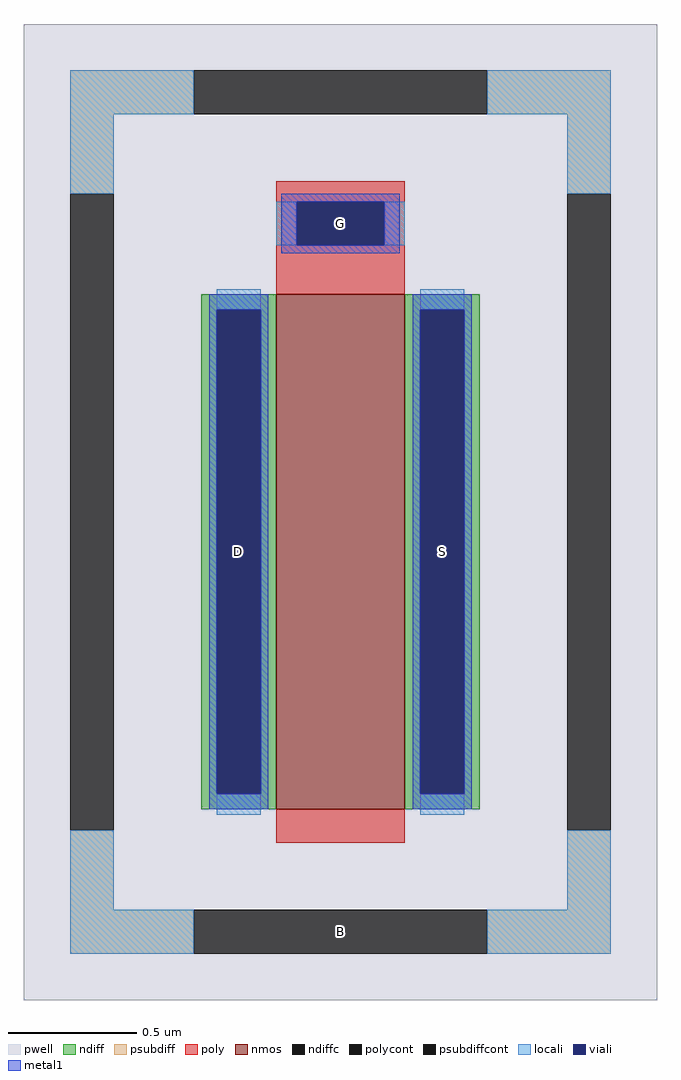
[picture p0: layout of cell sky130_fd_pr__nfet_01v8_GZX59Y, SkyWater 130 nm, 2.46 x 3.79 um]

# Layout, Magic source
magic
tech sky130A
magscale 1 2
<< pwell >>
rect -246 -379 246 379
<< nmos >>
rect -50 -231 50 169
<< ndiff >>
rect -108 157 -50 169
rect -108 -219 -96 157
rect -62 -219 -50 157
rect -108 -231 -50 -219
rect 50 157 108 169
rect 50 -219 62 157
rect 96 -219 108 157
rect 50 -231 108 -219
<< ndiffc >>
rect -96 -219 -62 157
rect 62 -219 96 157
<< psubdiff >>
rect -210 309 -114 343
rect 114 309 210 343
rect -210 247 -176 309
rect 176 247 210 309
rect -210 -309 -176 -247
rect 176 -309 210 -247
rect -210 -343 -114 -309
rect 114 -343 210 -309
<< psubdiffcont >>
rect -114 309 114 343
rect -210 -247 -176 247
rect 176 -247 210 247
rect -114 -343 114 -309
<< poly >>
rect -50 241 50 257
rect -50 207 -34 241
rect 34 207 50 241
rect -50 169 50 207
rect -50 -257 50 -231
<< polycont >>
rect -34 207 34 241
<< locali >>
rect -210 309 -114 343
rect 114 309 210 343
rect -210 247 -176 309
rect 176 247 210 309
rect -50 207 -34 241
rect 34 207 50 241
rect -96 157 -62 173
rect -96 -235 -62 -219
rect 62 157 96 173
rect 62 -235 96 -219
rect -210 -309 -176 -247
rect 176 -309 210 -247
rect -210 -343 -114 -309
rect 114 -343 210 -309
<< viali >>
rect -34 207 34 241
rect -96 -219 -62 157
rect 62 -219 96 157
<< metal1 >>
rect -46 241 46 247
rect -46 207 -34 241
rect 34 207 46 241
rect -46 201 46 207
rect -102 157 -56 169
rect -102 -219 -96 157
rect -62 -219 -56 157
rect -102 -231 -56 -219
rect 56 157 102 169
rect 56 -219 62 157
rect 96 -219 102 157
rect 56 -231 102 -219
<< labels >>
rlabel psubdiffcont 0 -326 0 -326 0 B
port 1 nsew
rlabel ndiffc -79 -31 -79 -31 0 D
port 2 nsew
rlabel ndiffc 79 -31 79 -31 0 S
port 3 nsew
rlabel polycont 0 224 0 224 0 G
port 4 nsew
<< properties >>
string FIXED_BBOX -193 -326 193 326
string gencell sky130_fd_pr__nfet_01v8
string library sky130
string parameters w 2.0 l 0.5 m 1 nf 1 diffcov 100 polycov 100 guard 1 glc 1 grc 1 gtc 1 gbc 1 tbcov 100 rlcov 100 topc 1 botc 0 poverlap 0 doverlap 1 lmin 0.15 wmin 0.42 class mosfet compatible {sky130_fd_pr__nfet_01v8 sky130_fd_pr__nfet_01v8_lvt  sky130_fd_bs_flash__special_sonosfet_star  sky130_fd_pr__nfet_g5v0d10v5 sky130_fd_pr__nfet_05v0_nvt  sky130_fd_pr__nfet_03v3_nvt} full_metal 1 conn_gates 0 viasrc 100 viadrn 100 viagate 100 viagb 0 viagr 0 viagl 0 viagt 0 doports 1
<< end >>
